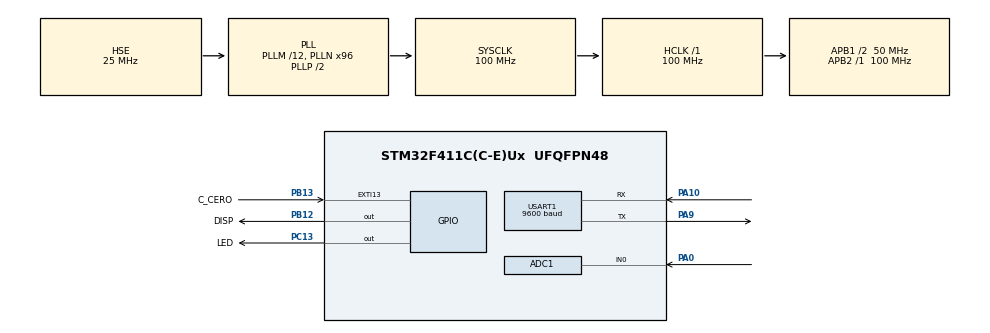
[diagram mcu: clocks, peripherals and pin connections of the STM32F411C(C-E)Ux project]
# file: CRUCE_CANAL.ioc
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ADC1.Channel-0\#ChannelRegularConversion=ADC_CHANNEL_0
ADC1.NbrOfConversionFlag=1
ADC1.Rank-0\#ChannelRegularConversion=1
ADC1.SamplingTime-0\#ChannelRegularConversion=ADC_SAMPLETIME_3CYCLES
ADC1.master=1
Mcu.Family=STM32F4
Mcu.Name=STM32F411C(C-E)Ux
Mcu.Package=UFQFPN48
NVIC.EXTI15_10_IRQn=true\:0\:0\:false\:false\:true\:true\:true\:true
NVIC.PriorityGroup=NVIC_PRIORITYGROUP_4
NVIC.TIM5_IRQn=true\:0\:0\:false\:false\:true\:true\:true\:true
PA0-WKUP.Signal=ADCx_IN0
PA10.Mode=Asynchronous
PA10.Signal=USART1_RX
PA9.Mode=Asynchronous
PA9.Signal=USART1_TX
PB12.GPIO_Label=DISP
PB12.Signal=GPIO_Output
PB13.GPIO_Label=C_CERO
PB13.Signal=GPXTI13
PC13-ANTI_TAMP.GPIO_Label=LED
PC13-ANTI_TAMP.Signal=GPIO_Output
PC14-OSC32_IN.Mode=LSE-External-Oscillator
PC14-OSC32_IN.Signal=RCC_OSC32_IN
PC15-OSC32_OUT.Mode=LSE-External-Oscillator
PC15-OSC32_OUT.Signal=RCC_OSC32_OUT
PH0\ -\ OSC_IN.Mode=HSE-External-Oscillator
PH0\ -\ OSC_IN.Signal=RCC_OSC_IN
PH1\ -\ OSC_OUT.Mode=HSE-External-Oscillator
PH1\ -\ OSC_OUT.Signal=RCC_OSC_OUT
ProjectManager.HeapSize=0x200
ProjectManager.StackSize=0x400
ProjectManager.TargetToolchain=STM32CubeIDE
RCC.48MHZClocksFreq_Value=50000000
RCC.AHBFreq_Value=100000000
RCC.APB1CLKDivider=RCC_HCLK_DIV2
RCC.APB1Freq_Value=50000000
RCC.APB1TimFreq_Value=100000000
RCC.APB2Freq_Value=100000000
RCC.APB2TimFreq_Value=100000000
RCC.CortexFreq_Value=100000000
RCC.HCLKFreq_Value=100000000
RCC.HSE_VALUE=25000000
RCC.HSI_VALUE=16000000
RCC.PLLM=12
RCC.PLLN=96
RCC.PLLSourceVirtual=RCC_PLLSOURCE_HSE
RCC.SYSCLKFreq_VALUE=100000000
RCC.SYSCLKSource=RCC_SYSCLKSOURCE_PLLCLK
RCC.VCOOutputFreq_Value=200000000
SH.ADCx_IN0.0=ADC1_IN0,IN0
TIM5.AutoReloadPreload=TIM_AUTORELOAD_PRELOAD_DISABLE
TIM5.Period=10000
TIM5.Prescaler=100-1
USART1.BaudRate=9600
USART1.VirtualMode=VM_ASYNC
VP_TIM5_VS_ClockSourceINT.Mode=Internal
board=custom

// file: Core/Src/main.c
/* USER CODE BEGIN Header */
/**
  ******************************************************************************
  * @file           : main.c
  * @brief          : Main program body
  ******************************************************************************
  * @attention
  *
  * Copyright (c) 2025 STMicroelectronics.
  * All rights reserved.
  *
  * This software is licensed under terms that can be found in the LICENSE file
  * in the root directory of this software component.
  * If no LICENSE file comes with this software, it is provided AS-IS.
  *
  ******************************************************************************
  */
/* USER CODE END Header */
#include "main.h"

/* USER CODE BEGIN Includes */
#include "pinout1.h"
#include "uart.h"
#include "uart_int_idle_dma.h"
#include "delays.h"
#include "adc.h"
#include <MAP_.h>
#include "CRUCE_CERO.h"

#include "stdio.h"
#include "stdint.h"
#include "string.h"
#include "stdlib.h"

/* USER CODE END Includes */

ADC_HandleTypeDef hadc1;

TIM_HandleTypeDef htim5;

UART_HandleTypeDef huart1;

/* USER CODE BEGIN PV */
char texto[100];
uint16_t codigo;
float tiempo;

/* USER CODE END PV */

void SystemClock_Config(void);
static void MX_GPIO_Init(void);
static void MX_ADC1_Init(void);
static void MX_USART1_UART_Init(void);
static void MX_TIM5_Init(void);

int main(void)
{

  /* MCU Configuration--------------------------------------------------------*/

  /* Reset of all peripherals, Initializes the Flash interface and the Systick. */
  HAL_Init();

  /* Configure the system clock */
  SystemClock_Config();

  /* Initialize all configured peripherals */
  MX_GPIO_Init();
  MX_ADC1_Init();
  MX_USART1_UART_Init();
  MX_TIM5_Init();
  /* USER CODE BEGIN 2 */
//deshabilita int flanco
  HAL_NVIC_DisableIRQ(C_CERO_EXTI_IRQn);

  cruce_init();

//Habilita int_flanco
  __HAL_GPIO_EXTI_CLEAR_IT(C_CERO_Pin);
  HAL_NVIC_EnableIRQ(C_CERO_EXTI_IRQn);

  /* USER CODE END 2 */

  /* Infinite loop */
  /* USER CODE BEGIN WHILE */
  while (1)
  {
	  codigo=ADC_Read();
	  tiempo=map(codigo,0,4095,LIM_SUP, LIM_INF);
	  //tiempo=-1.9524*codigo + 8000;
	  sprintf(texto,"VALOR=%u\r\n",codigo);
	  uartx_write_text(&huart1, texto);
	  sprintf(texto,"float=%.1f\r\n\r\n\r\n",tiempo);

	  uartx_write_text(&huart1, texto);

	  Cruce_set(&tiempo);
	  HAL_Delay(500);

    /* USER CODE END WHILE */

  }
}

void SystemClock_Config(void)
{
  RCC_OscInitTypeDef RCC_OscInitStruct = {0};
  RCC_ClkInitTypeDef RCC_ClkInitStruct = {0};

  /** Configure the main internal regulator output voltage
  */
  __HAL_RCC_PWR_CLK_ENABLE();
  __HAL_PWR_VOLTAGESCALING_CONFIG(PWR_REGULATOR_VOLTAGE_SCALE1);

  /** Initializes the RCC Oscillators according to the specified parameters
  * in the RCC_OscInitTypeDef structure.
  */
  RCC_OscInitStruct.OscillatorType = RCC_OSCILLATORTYPE_HSE;
  RCC_OscInitStruct.HSEState = RCC_HSE_ON;
  RCC_OscInitStruct.PLL.PLLState = RCC_PLL_ON;
  RCC_OscInitStruct.PLL.PLLSource = RCC_PLLSOURCE_HSE;
  RCC_OscInitStruct.PLL.PLLM = 12;
  RCC_OscInitStruct.PLL.PLLN = 96;
  RCC_OscInitStruct.PLL.PLLP = RCC_PLLP_DIV2;
  RCC_OscInitStruct.PLL.PLLQ = 4;
  if (HAL_RCC_OscConfig(&RCC_OscInitStruct) != HAL_OK)
  {
    Error_Handler();
  }

  /** Initializes the CPU, AHB and APB buses clocks
  */
  RCC_ClkInitStruct.ClockType = RCC_CLOCKTYPE_HCLK|RCC_CLOCKTYPE_SYSCLK
                              |RCC_CLOCKTYPE_PCLK1|RCC_CLOCKTYPE_PCLK2;
  RCC_ClkInitStruct.SYSCLKSource = RCC_SYSCLKSOURCE_PLLCLK;
  RCC_ClkInitStruct.AHBCLKDivider = RCC_SYSCLK_DIV1;
  RCC_ClkInitStruct.APB1CLKDivider = RCC_HCLK_DIV2;
  RCC_ClkInitStruct.APB2CLKDivider = RCC_HCLK_DIV1;

  if (HAL_RCC_ClockConfig(&RCC_ClkInitStruct, FLASH_LATENCY_3) != HAL_OK)
  {
    Error_Handler();
  }
}

static void MX_ADC1_Init(void)
{

  ADC_ChannelConfTypeDef sConfig = {0};

  /** Configure the global features of the ADC (Clock, Resolution, Data Alignment and number of conversion)
  */
  hadc1.Instance = ADC1;
  hadc1.Init.ClockPrescaler = ADC_CLOCK_SYNC_PCLK_DIV4;
  hadc1.Init.Resolution = ADC_RESOLUTION_12B;
  hadc1.Init.ScanConvMode = DISABLE;
  hadc1.Init.ContinuousConvMode = DISABLE;
  hadc1.Init.DiscontinuousConvMode = DISABLE;
  hadc1.Init.ExternalTrigConvEdge = ADC_EXTERNALTRIGCONVEDGE_NONE;
  hadc1.Init.ExternalTrigConv = ADC_SOFTWARE_START;
  hadc1.Init.DataAlign = ADC_DATAALIGN_RIGHT;
  hadc1.Init.NbrOfConversion = 1;
  hadc1.Init.DMAContinuousRequests = DISABLE;
  hadc1.Init.EOCSelection = ADC_EOC_SINGLE_CONV;
  if (HAL_ADC_Init(&hadc1) != HAL_OK)
  {
    Error_Handler();
  }

  /** Configure for the selected ADC regular channel its corresponding rank in the sequencer and its sample time.
  */
  sConfig.Channel = ADC_CHANNEL_0;
  sConfig.Rank = 1;
  sConfig.SamplingTime = ADC_SAMPLETIME_3CYCLES;
  if (HAL_ADC_ConfigChannel(&hadc1, &sConfig) != HAL_OK)
  {
    Error_Handler();
  }

}

static void MX_TIM5_Init(void)
{

  TIM_ClockConfigTypeDef sClockSourceConfig = {0};
  TIM_MasterConfigTypeDef sMasterConfig = {0};

  htim5.Instance = TIM5;
  htim5.Init.Prescaler = 100-1;
  htim5.Init.CounterMode = TIM_COUNTERMODE_UP;
  htim5.Init.Period = 10000;
  htim5.Init.ClockDivision = TIM_CLOCKDIVISION_DIV1;
  htim5.Init.AutoReloadPreload = TIM_AUTORELOAD_PRELOAD_DISABLE;
  if (HAL_TIM_Base_Init(&htim5) != HAL_OK)
  {
    Error_Handler();
  }
  sClockSourceConfig.ClockSource = TIM_CLOCKSOURCE_INTERNAL;
  if (HAL_TIM_ConfigClockSource(&htim5, &sClockSourceConfig) != HAL_OK)
  {
    Error_Handler();
  }
  sMasterConfig.MasterOutputTrigger = TIM_TRGO_RESET;
  sMasterConfig.MasterSlaveMode = TIM_MASTERSLAVEMODE_DISABLE;
  if (HAL_TIMEx_MasterConfigSynchronization(&htim5, &sMasterConfig) != HAL_OK)
  {
    Error_Handler();
  }

}

static void MX_USART1_UART_Init(void)
{

  huart1.Instance = USART1;
  huart1.Init.BaudRate = 9600;
  huart1.Init.WordLength = UART_WORDLENGTH_8B;
  huart1.Init.StopBits = UART_STOPBITS_1;
  huart1.Init.Parity = UART_PARITY_NONE;
  huart1.Init.Mode = UART_MODE_TX_RX;
  huart1.Init.HwFlowCtl = UART_HWCONTROL_NONE;
  huart1.Init.OverSampling = UART_OVERSAMPLING_16;
  if (HAL_UART_Init(&huart1) != HAL_OK)
  {
    Error_Handler();
  }

}

static void MX_GPIO_Init(void)
{
  GPIO_InitTypeDef GPIO_InitStruct = {0};

  /* GPIO Ports Clock Enable */
  __HAL_RCC_GPIOC_CLK_ENABLE();
  __HAL_RCC_GPIOH_CLK_ENABLE();
  __HAL_RCC_GPIOA_CLK_ENABLE();
  __HAL_RCC_GPIOB_CLK_ENABLE();

  /*Configure GPIO pin Output Level */
  HAL_GPIO_WritePin(LED_GPIO_Port, LED_Pin, GPIO_PIN_RESET);

  /*Configure GPIO pin Output Level */
  HAL_GPIO_WritePin(DISP_GPIO_Port, DISP_Pin, GPIO_PIN_RESET);

  /*Configure GPIO pin : LED_Pin */
  GPIO_InitStruct.Pin = LED_Pin;
  GPIO_InitStruct.Mode = GPIO_MODE_OUTPUT_PP;
  GPIO_InitStruct.Pull = GPIO_NOPULL;
  GPIO_InitStruct.Speed = GPIO_SPEED_FREQ_LOW;
  HAL_GPIO_Init(LED_GPIO_Port, &GPIO_InitStruct);

  /*Configure GPIO pin : DISP_Pin */
  GPIO_InitStruct.Pin = DISP_Pin;
  GPIO_InitStruct.Mode = GPIO_MODE_OUTPUT_PP;
  GPIO_InitStruct.Pull = GPIO_NOPULL;
  GPIO_InitStruct.Speed = GPIO_SPEED_FREQ_LOW;
  HAL_GPIO_Init(DISP_GPIO_Port, &GPIO_InitStruct);

  /*Configure GPIO pin : C_CERO_Pin */
  GPIO_InitStruct.Pin = C_CERO_Pin;
  GPIO_InitStruct.Mode = GPIO_MODE_IT_RISING;
  GPIO_InitStruct.Pull = GPIO_NOPULL;
  HAL_GPIO_Init(C_CERO_GPIO_Port, &GPIO_InitStruct);

  /* EXTI interrupt init*/
  HAL_NVIC_SetPriority(EXTI15_10_IRQn, 0, 0);
  HAL_NVIC_EnableIRQ(EXTI15_10_IRQn);

}

void Error_Handler(void)
{
  __disable_irq();
  while (1)
  {
  }
}
